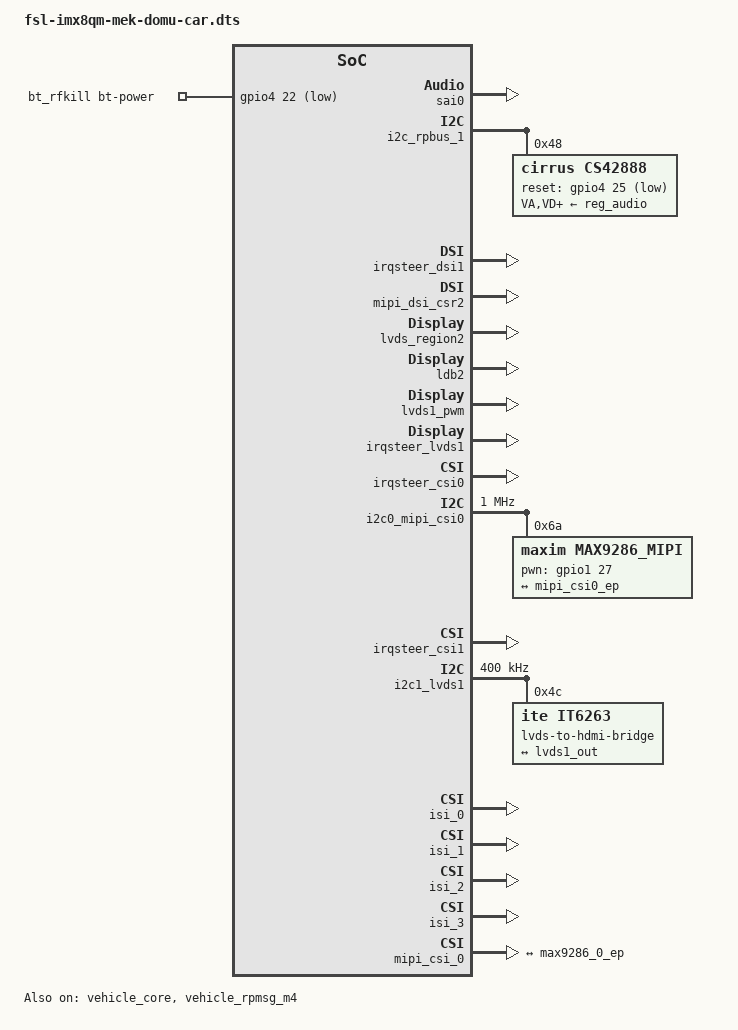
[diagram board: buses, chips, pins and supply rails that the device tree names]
/*
 * Copyright 2018-2019 NXP
 *
 * This program is free software; you can redistribute it and/or
 * modify it under the terms of the GNU General Public License
 * as published by the Free Software Foundation; either version 2
 * of the License, or (at your option) any later version.
 *
 * This program is distributed in the hope that it will be useful,
 * but WITHOUT ANY WARRANTY; without even the implied warranty of
 * MERCHANTABILITY or FITNESS FOR A PARTICULAR PURPOSE.  See the
 * GNU General Public License for more details.
 */

#include "fsl-imx8qm-mek-domu.dts"

/* Android Auto use bootargs */
/delete-node/ &{/reserved-memory/linux,cma};

/ {
	/*
	trusty {
		compatible = "android,trusty-smc-v1";
		ranges;
		#address-cells = <2>;
		#size-cells = <2>;
		trusty-virtio {
			compatible = "android,trusty-virtio-v1";
		};
	};
	trusty_ipi: interrupt-controller@0 {
		compatible = "android,CustomIPI";
		interrupt-controller;
		#interrupt-cells = <1>;
	};
	*/

	bt_rfkill {
		compatible = "fsl,mxc_bt_rfkill";
		bt-power-gpios = <&gpio4 22 GPIO_ACTIVE_LOW>;
		status ="okay";
	};

	sound-xtor {
		compatible = "fsl,imx-audio-xtor";
		model = "xtor-audio";
		cpu-dai = <&sai0>;
		status = "okay";
	};
};

/* Android auto use RPMSG to handle I2C */
/delete-node/ &xen_i2c1;
/delete-node/ &i2c1_lvds1;
/delete-node/ &camera;
/delete-node/ &dpu2_intsteer;
/delete-node/ &prg10;
/delete-node/ &prg11;
/delete-node/ &prg12;
/delete-node/ &prg13;
/delete-node/ &prg14;
/delete-node/ &prg15;
/delete-node/ &prg16;
/delete-node/ &prg17;
/delete-node/ &prg18;
/delete-node/ &dpr3_channel1;
/delete-node/ &dpr3_channel2;
/delete-node/ &dpr3_channel3;
/delete-node/ &dpr4_channel1;
/delete-node/ &dpr4_channel2;
/delete-node/ &dpr4_channel3;
/delete-node/ &dpu2;
/delete-node/ &pixel_combiner2;

/delete-node/ &lvds_region2;
/delete-node/ &ldb2_phy;
/delete-node/ &ldb2;
/delete-node/ &lvds1_pwm;
/delete-node/ &irqsteer_lvds1;

/delete-node/ &irqsteer_csi0;
/delete-node/ &i2c0_mipi_csi0;
/delete-node/ &gpio0_mipi_csi0;

&iomuxc {
	imx8qm-mek {
		pinctrl_mipi_csi0_en_rst: mipi_csi0_en_rst {
			fsl,pins = <
				SC_P_MIPI_CSI0_GPIO0_00_LSIO_GPIO1_IO27		0x00000021
				SC_P_MIPI_CSI0_GPIO0_01_LSIO_GPIO1_IO28		0x00000021
			>;
		};

		pinctrl_sai0: sai0grp {
			fsl,pins = <
				SC_P_SPI0_CS1_AUD_SAI0_TXC		0x0600004c
				SC_P_SPI2_CS1_AUD_SAI0_TXFS		0x0600004c
				SC_P_SAI1_RXFS_AUD_SAI0_RXD		0x0600004c
				SC_P_SAI1_RXC_AUD_SAI0_TXD		0x0600006c
			>;
		};
	};
};

&sai0 {
	assigned-clocks = <&clk IMX8QM_AUD_PLL0_DIV>,
			<&clk IMX8QM_AUD_ACM_AUD_PLL_CLK0_DIV>,
			<&clk IMX8QM_AUD_ACM_AUD_REC_CLK0_DIV>,
			<&clk IMX8QM_AUD_SAI_0_MCLK>;
	assigned-clock-rates = <786432000>, <49152000>, <12288000>, <49152000>;
	pinctrl-names = "default";
	pinctrl-0 = <&pinctrl_sai0>;
	status = "okay";
};

&i2c_rpbus_1 {
	#address-cells = <1>;
	#size-cells = <0>;
	status = "okay";

	cs42888: cs42888@48 {
		compatible = "cirrus,cs42888";
		reg = <0x48>;
		clocks = <&clk IMX8QM_AUD_MCLKOUT0>;
		clock-names = "mclk";
		VA-supply = <&reg_audio>;
		VD-supply = <&reg_audio>;
		VLS-supply = <&reg_audio>;
		VLC-supply = <&reg_audio>;
		reset-gpio = <&gpio4 25 1>;
		power-domains = <&pd_mclk_out0>;
		assigned-clocks = <&clk IMX8QM_AUD_PLL0_DIV>,
				<&clk IMX8QM_AUD_ACM_AUD_PLL_CLK0_DIV>,
				<&clk IMX8QM_AUD_ACM_AUD_REC_CLK0_DIV>,
				<&clk IMX8QM_AUD_MCLKOUT0>;
		assigned-clock-rates = <786432000>, <49152000>, <12288000>, <12288000>;
		fsl,txs-rxm;
		status = "okay";
	};
};

&vehicle_core {
	status = "okay";
};

&vehicle_rpmsg_m4 {
	#address-cells = <2>;
	#size-cells = <2>;
	status = "okay";
	ranges;

	clk_post: clk1 {
		compatible = "fsl,imx8qm-post-clk";
		#clock-cells = <1>;
	};

	dpu2_intsteer: dpu_intsteer@57000000 {
		compatible = "fsl,imx8qm-dpu-intsteer", "syscon";
		reg = <0x0 0x57000000 0x0 0x10000>;
	};

	pixel_combiner2: pixel-combiner@57020000 {
		compatible = "fsl,imx8qm-pixel-combiner";
		reg = <0x0 0x57020000 0x0 0x10000>;
		power-domains = <&pd_dc1>;
		status = "okay";
	};

	prg10: prg@57040000 {
		compatible = "fsl,imx8qm-prg";
		reg = <0x0 0x57040000 0x0 0x10000>;
		clocks = <&clk_post IMX8QM_DC1_PRG0_APB_CLK>,
			 <&clk_post IMX8QM_DC1_PRG0_RTRAM_CLK>;
		clock-names = "apb", "rtram";
		power-domains = <&pd_dc1>;
		status = "okay";
	};

	prg11: prg@57050000 {
		compatible = "fsl,imx8qm-prg";
		reg = <0x0 0x57050000 0x0 0x10000>;
		clocks = <&clk_post IMX8QM_DC1_PRG1_APB_CLK>,
			 <&clk_post IMX8QM_DC1_PRG1_RTRAM_CLK>;
		clock-names = "apb", "rtram";
		power-domains = <&pd_dc1>;
		status = "okay";
	};

	prg12: prg@57060000 {
		compatible = "fsl,imx8qm-prg";
		reg = <0x0 0x57060000 0x0 0x10000>;
		clocks = <&clk_post IMX8QM_DC1_PRG2_APB_CLK>,
			 <&clk_post IMX8QM_DC1_PRG2_RTRAM_CLK>;
		clock-names = "apb", "rtram";
		power-domains = <&pd_dc1>;
		status = "okay";
	};

	prg13: prg@57070000 {
		compatible = "fsl,imx8qm-prg";
		reg = <0x0 0x57070000 0x0 0x10000>;
		clocks = <&clk_post IMX8QM_DC1_PRG3_APB_CLK>,
			 <&clk_post IMX8QM_DC1_PRG3_RTRAM_CLK>;
		clock-names = "apb", "rtram";
		power-domains = <&pd_dc1>;
		status = "okay";
	};

	prg14: prg@57080000 {
		compatible = "fsl,imx8qm-prg";
		reg = <0x0 0x57080000 0x0 0x10000>;
		clocks = <&clk_post IMX8QM_DC1_PRG4_APB_CLK>,
			 <&clk_post IMX8QM_DC1_PRG4_RTRAM_CLK>;
		clock-names = "apb", "rtram";
		power-domains = <&pd_dc1>;
		status = "okay";
	};

	prg15: prg@57090000 {
		compatible = "fsl,imx8qm-prg";
		reg = <0x0 0x57090000 0x0 0x10000>;
		clocks = <&clk_post IMX8QM_DC1_PRG5_APB_CLK>,
			 <&clk_post IMX8QM_DC1_PRG5_RTRAM_CLK>;
		clock-names = "apb", "rtram";
		power-domains = <&pd_dc1>;
		status = "okay";
	};

	prg16: prg@570a0000 {
		compatible = "fsl,imx8qm-prg";
		reg = <0x0 0x570a0000 0x0 0x10000>;
		clocks = <&clk_post IMX8QM_DC1_PRG6_APB_CLK>,
			 <&clk_post IMX8QM_DC1_PRG6_RTRAM_CLK>;
		clock-names = "apb", "rtram";
		power-domains = <&pd_dc1>;
		status = "okay";
	};


	prg17: prg@570b0000 {
		compatible = "fsl,imx8qm-prg";
		reg = <0x0 0x570b0000 0x0 0x10000>;
		clocks = <&clk_post IMX8QM_DC1_PRG7_APB_CLK>,
			 <&clk_post IMX8QM_DC1_PRG7_RTRAM_CLK>;
		clock-names = "apb", "rtram";
		power-domains = <&pd_dc1>;
		status = "okay";
	};

	prg18: prg@570c0000 {
		compatible = "fsl,imx8qm-prg";
		reg = <0x0 0x570c0000 0x0 0x10000>;
		clocks = <&clk_post IMX8QM_DC1_PRG8_APB_CLK>,
			 <&clk_post IMX8QM_DC1_PRG8_RTRAM_CLK>;
		clock-names = "apb", "rtram";
		power-domains = <&pd_dc1>;
		status = "okay";
	};

	dpr3_channel1: dpr-channel@570d0000 {
		compatible = "fsl,imx8qm-dpr-channel";
		reg = <0x0 0x570d0000 0x0 0x10000>;
		fsl,sc-resource = <SC_R_DC_1_BLIT0>;
		fsl,prgs = <&prg10>;
		clocks = <&clk_post IMX8QM_DC1_DPR0_APB_CLK>,
			 <&clk_post IMX8QM_DC1_DPR0_B_CLK>,
			 <&clk_post IMX8QM_DC1_RTRAM0_CLK>;
		clock-names = "apb", "b", "rtram";
		power-domains = <&pd_dc1>;
		status = "okay";
	};

	dpr3_channel2: dpr-channel@570e0000 {
		compatible = "fsl,imx8qm-dpr-channel";
		reg = <0x0 0x570e0000 0x0 0x10000>;
		fsl,sc-resource = <SC_R_DC_1_BLIT1>;
		fsl,prgs = <&prg11>, <&prg10>;
		clocks = <&clk_post IMX8QM_DC1_DPR0_APB_CLK>,
			 <&clk_post IMX8QM_DC1_DPR0_B_CLK>,
			 <&clk_post IMX8QM_DC1_RTRAM0_CLK>;
		clock-names = "apb", "b", "rtram";
		power-domains = <&pd_dc1>;
		status = "okay";
	};

	dpr3_channel3: dpr-channel@570f0000 {
		compatible = "fsl,imx8qm-dpr-channel";
		reg = <0x0 0x570f0000 0x0 0x10000>;
		fsl,sc-resource = <SC_R_DC_1_FRAC0>;
		fsl,prgs = <&prg12>;
		clocks = <&clk_post IMX8QM_DC1_DPR0_APB_CLK>,
			 <&clk_post IMX8QM_DC1_DPR0_B_CLK>,
			 <&clk_post IMX8QM_DC1_RTRAM0_CLK>;
		clock-names = "apb", "b", "rtram";
		power-domains = <&pd_dc1>;
		status = "okay";
	};

	dpr4_channel1: dpr-channel@57100000 {
		compatible = "fsl,imx8qm-dpr-channel";
		reg = <0x0 0x57100000 0x0 0x10000>;
		fsl,sc-resource = <SC_R_DC_1_VIDEO0>;
		fsl,prgs = <&prg13>, <&prg14>;
		clocks = <&clk_post IMX8QM_DC1_DPR1_APB_CLK>,
			 <&clk_post IMX8QM_DC1_DPR1_B_CLK>,
			 <&clk_post IMX8QM_DC1_RTRAM1_CLK>;
		clock-names = "apb", "b", "rtram";
		power-domains = <&pd_dc1>;
		status = "okay";
	};

	dpr4_channel2: dpr-channel@57110000 {
		compatible = "fsl,imx8qm-dpr-channel";
		reg = <0x0 0x57110000 0x0 0x10000>;
		fsl,sc-resource = <SC_R_DC_1_VIDEO1>;
		fsl,prgs = <&prg15>, <&prg16>;
		clocks = <&clk_post IMX8QM_DC1_DPR1_APB_CLK>,
			 <&clk_post IMX8QM_DC1_DPR1_B_CLK>,
			 <&clk_post IMX8QM_DC1_RTRAM1_CLK>;
		clock-names = "apb", "b", "rtram";
		power-domains = <&pd_dc1>;
		status = "okay";
	};

	dpr4_channel3: dpr-channel@56712000 {
		compatible = "fsl,imx8qm-dpr-channel";
		reg = <0x0 0x57120000 0x0 0x10000>;
		fsl,sc-resource = <SC_R_DC_1_WARP>;
		fsl,prgs = <&prg17>, <&prg18>;
		clocks = <&clk_post IMX8QM_DC1_DPR1_APB_CLK>,
			 <&clk_post IMX8QM_DC1_DPR1_B_CLK>,
			 <&clk_post IMX8QM_DC1_RTRAM1_CLK>;
		clock-names = "apb", "b", "rtram";
		power-domains = <&pd_dc1>;
		status = "okay";
	};

	dpu2: dpu@57180000 {
		#address-cells = <1>;
		#size-cells = <0>;
		compatible = "fsl,imx8qm-dpu";
		reg = <0x0 0x57180000 0x0 0x40000>;
		intsteer = <&dpu2_intsteer>;
		interrupts = <GIC_SPI 152 IRQ_TYPE_LEVEL_HIGH>,
			     <GIC_SPI 153 IRQ_TYPE_LEVEL_HIGH>,
			     <GIC_SPI 154 IRQ_TYPE_LEVEL_HIGH>,
			     <GIC_SPI 155 IRQ_TYPE_LEVEL_HIGH>,
			     <GIC_SPI 156 IRQ_TYPE_LEVEL_HIGH>,
			     <GIC_SPI 157 IRQ_TYPE_LEVEL_HIGH>,
			     <GIC_SPI 158 IRQ_TYPE_LEVEL_HIGH>,
			     <GIC_SPI 159 IRQ_TYPE_LEVEL_HIGH>,
			     <GIC_SPI 162 IRQ_TYPE_LEVEL_HIGH>,
			     <GIC_SPI 163 IRQ_TYPE_LEVEL_HIGH>;
		interrupt-names = "irq_common",
				  "irq_stream0a",
				  "irq_stream0b",	/* to M4? */
				  "irq_stream1a",
				  "irq_stream1b",	/* to M4? */
				  "irq_reserved0",
				  "irq_reserved1",
				  "irq_blit",
				  "irq_dpr0",
				  "irq_dpr1";
		clocks = <&clk_post IMX8QM_DC1_PLL0_CLK>,
			 <&clk_post IMX8QM_DC1_PLL1_CLK>,
			 <&clk_post IMX8QM_DC1_BYPASS_0_DIV>,
			 <&clk_post IMX8QM_DC1_DISP0_SEL>,
			 <&clk_post IMX8QM_DC1_DISP1_SEL>,
			 <&clk_post IMX8QM_DC1_DISP0_CLK>,
			 <&clk_post IMX8QM_DC1_DISP1_CLK>;
		clock-names = "pll0", "pll1", "bypass0",
			      "disp0_sel", "disp1_sel", "disp0", "disp1";
		power-domains = <&pd_dc1_pll1>;
		fsl,dpr-channels = <&dpr3_channel1>, <&dpr3_channel2>,
				   <&dpr3_channel3>, <&dpr4_channel1>,
				   <&dpr4_channel2>, <&dpr4_channel3>;
		fsl,pixel-combiner = <&pixel_combiner2>;
		status = "okay";

		dpu2_disp0: port@0 {
			reg = <0>;

			dpu2_disp0_mipi_dsi: mipi-dsi-endpoint {
				/delete-property/ remote-endpoint;
			};
		};

		dpu2_disp1: port@1 {
			reg = <1>;

			dpu2_disp1_lvds0: lvds0-endpoint {
				remote-endpoint = <&ldb2_lvds0>;
			};

			dpu2_disp1_lvds1: lvds1-endpoint {
				remote-endpoint = <&ldb2_lvds1>;
			};
		};
	};

	irqsteer_dsi1: irqsteer@57220000 {
		compatible = "nxp,imx-irqsteer";
		reg = <0x0 0x57220000 0x0 0x1000>;
		interrupts = <GIC_SPI 60 IRQ_TYPE_LEVEL_HIGH>;
		interrupt-controller;
		interrupt-parent = <&gic>;
		#interrupt-cells = <2>;
		clocks = <&clk IMX8QM_MIPI1_LIS_IPG_CLK>;
		clock-names = "ipg";
		power-domains = <&pd_mipi1>;
	};

	mipi_dsi_csr2: csr@57221000 {
		compatible = "fsl,imx8qm-mipi-dsi-csr", "syscon";
		reg = <0x0 0x57221000 0x0 0x1000>;
	};

	mipi_dsi_phy2: mipi_phy@57228300 {
		#address-cells = <1>;
		#size-cells = <0>;
		compatible = "mixel,imx8qm-mipi-dsi-phy";
		reg = <0x0 0x57228300 0x0 0x100>;
		power-domains = <&pd_mipi1>;
		#phy-cells = <0>;
		status = "disabled";
	};

	lvds_region2: lvds_region@57240000 {
		compatible = "fsl,imx8qm-lvds-region", "syscon";
		reg = <0x0 0x57240000 0x0 0x10000>;
	};

	ldb2_phy: ldb_phy@57241000 {
		#address-cells = <1>;
		#size-cells = <0>;
		compatible = "mixel,lvds-phy";
		reg = <0x0 0x57241000 0x0 0x100>;
		clocks = <&clk_post IMX8QM_LVDS1_PHY_CLK>;
		clock-names = "phy";
		power-domains = <&pd_lvds1>;
		status = "okay";

		ldb2_phy1: port@0 {
			reg = <0>;
			#phy-cells = <0>;
		};

		ldb2_phy2: port@1 {
			reg = <1>;
			#phy-cells = <0>;
		};
	};

	ldb2: ldb@572410e0 {
		#address-cells = <1>;
		#size-cells = <0>;
		compatible = "fsl,imx8qm-ldb";
		clocks = <&clk_post IMX8QM_LVDS1_PIXEL_CLK>,
			 <&clk_post IMX8QM_LVDS1_BYPASS_CLK>;
		clock-names = "pixel", "bypass";
		power-domains = <&pd_lvds1>;
		gpr = <&lvds_region2>;
		status = "okay";

		lvds-channel@0 {
			#address-cells = <1>;
			#size-cells = <0>;
			reg = <0>;
			phys = <&ldb2_phy1>;
			phy-names = "ldb_phy";
			fsl,data-mapping = "jeida";
			fsl,data-width = <24>;
			status = "okay";

			port@0 {
				reg = <0>;

				ldb2_lvds0: endpoint {
					remote-endpoint = <&dpu2_disp1_lvds0>;
				};
			};

			port@1 {
				reg = <1>;

				lvds1_out: endpoint {
					remote-endpoint = <&it6263_1_in>;
				};
			};
		};

		lvds-channel@1 {
			#address-cells = <1>;
			#size-cells = <0>;
			reg = <1>;
			phys = <&ldb2_phy2>;
			phy-names = "ldb_phy";
			status = "disabled";

			port@0 {
				reg = <0>;

				ldb2_lvds1: endpoint {
					remote-endpoint = <&dpu2_disp1_lvds1>;
				};
			};
		};
	};

	lvds1_pwm: pwm@57244000 {
		compatible = "fsl,imx8qm-pwm", "fsl,imx27-pwm";
		reg = <0x0 0x57244000 0 0x1000>;
		clocks = <&clk_post IMX8QM_LVDS1_PWM0_IPG_CLK>,
			 <&clk_post IMX8QM_LVDS1_PWM0_CLK>;
		clock-names = "ipg", "per";
		assigned-clocks = <&clk_post IMX8QM_LVDS1_PWM0_CLK>;
		assigned-clock-rates = <24000000>;
		#pwm-cells = <2>;
		power-domains = <&pd_lvds1_pwm>;
		pinctrl-names = "default";
		pinctrl-0 = <&pinctrl_lvds1_pwm0>;
		status = "okay";
	};

	irqsteer_lvds1: irqsteer@572400000 {
		compatible = "nxp,imx-irqsteer";
		reg = <0x0 0x57240000 0x0 0x1000>;
		interrupts = <GIC_SPI 58 IRQ_TYPE_LEVEL_HIGH>;
		interrupt-controller;
		interrupt-parent = <&gic>;
		#interrupt-cells = <2>;
		clocks = <&clk_post IMX8QM_LVDS1_LIS_IPG_CLK>;
		clock-names = "ipg";
		power-domains = <&pd_lvds1>;
	};

	irqsteer_csi0: irqsteer@58220000 {
		compatible = "nxp,imx-irqsteer";
		reg = <0x0 0x58220000 0x0 0x1000>;
		interrupts = <GIC_SPI 320 IRQ_TYPE_LEVEL_HIGH>;
		interrupt-controller;
		interrupt-parent = <&gic>;
		#interrupt-cells = <2>;
		clocks = <&clk IMX8QM_CLK_DUMMY>;
		clock-names = "ipg";
		power-domains = <&pd_csi0>;
	};

	i2c0_mipi_csi0: i2c@58226000 {
		#address-cells = <1>;
		#size-cells = <0>;
		compatible = "fsl,imx8qm-lpi2c";
		reg = <0x0 0x58226000 0x0 0x1000>;
		interrupts = <8 IRQ_TYPE_LEVEL_HIGH>;
		interrupt-parent = <&irqsteer_csi0>;
		clocks = <&clk_post IMX8QM_CSI0_I2C0_CLK>,
			 <&clk_post IMX8QM_CSI0_I2C0_IPG_CLK>;
		clock-names = "per", "ipg";
		assigned-clocks = <&clk_post IMX8QM_CSI0_I2C0_CLK>;
		assigned-clock-rates = <24000000>;
		power-domains = <&pd_csi0_i2c0>;
		pinctrl-names = "default";
		status = "okay";
		clock-frequency = <1000000>;
		/*pinctrl-0 = <&pinctrl_mipi_csi0_en>;*/
		max9286_mipi@6A	 {
			compatible = "maxim,max9286_mipi";
			reg = <0x6A>;
			clocks = <&clk IMX8QM_CLK_DUMMY>;
			clock-names = "capture_mclk";
			mclk = <27000000>;
			mclk_source = <0>;
			pwn-gpios = <&gpio1 27 GPIO_ACTIVE_HIGH>;
			virtual-channel;
			port {
				max9286_0_ep: endpoint {
				remote-endpoint = <&mipi_csi0_ep>;
				data-lanes = <1 2 3 4>;
				};
			};
		};
	};

	gpio0_mipi_csi0: gpio@58222000 {
		compatible = "fsl,imx8qm-gpio", "fsl,imx35-gpio";
		reg = <0x0 0x58222000 0x0 0x1000>;
		interrupts = <0 IRQ_TYPE_LEVEL_HIGH>;
		interrupt-parent = <&irqsteer_csi0>;
		gpio-controller;
		#gpio-cells = <2>;
		interrupt-controller;
		#interrupt-cells = <2>;
		power-domains = <&pd_csi0>;
		status = "disabled";
	};

	irqsteer_csi1: irqsteer@582400000 {
		compatible = "nxp,imx-irqsteer";
		reg = <0x0 0x58240000 0x0 0x1000>;
		interrupts = <GIC_SPI 321 IRQ_TYPE_LEVEL_HIGH>;
		interrupt-controller;
		interrupt-parent = <&gic>;
		#interrupt-cells = <2>;
		clocks = <&clk IMX8QM_CLK_DUMMY>;
		clock-names = "ipg";
		power-domains = <&pd_csi1>;
	};

	gpio0_mipi_csi1: gpio@58242000 {
		compatible = "fsl,imx8qm-gpio", "fsl,imx35-gpio";
		reg = <0x0 0x58242000 0x0 0x1000>;
		interrupts = <0 IRQ_TYPE_LEVEL_HIGH>;
		interrupt-parent = <&irqsteer_csi1>;
		gpio-controller;
		#gpio-cells = <2>;
		interrupt-controller;
		#interrupt-cells = <2>;
		power-domains = <&pd_csi1>;
		status = "disabled";
	};

	i2c1_lvds1: i2c@57247000 {
		#address-cells = <1>;
		#size-cells = <0>;
		compatible = "fsl,imx8qm-lpi2c";
		reg = <0x0 0x57247000 0x0 0x1000>;
		interrupts = <9 IRQ_TYPE_LEVEL_HIGH>;
		interrupt-parent = <&irqsteer_lvds1>;
		clocks = <&clk_post IMX8QM_LVDS1_I2C0_CLK>,
			 <&clk_post IMX8QM_LVDS1_I2C0_IPG_CLK>;
		clock-names = "per", "ipg";
		assigned-clocks = <&clk_post IMX8QM_LVDS1_I2C0_CLK>;
		assigned-clock-rates = <24000000>;
		power-domains = <&pd_lvds1_i2c0>;
		pinctrl-names = "default";
		pinctrl-0 = <&pinctrl_lvds1_lpi2c1>;
		clock-frequency = <400000>;
		status = "okay";
		lvds-to-hdmi-bridge@4c {
			compatible = "ite,it6263";
			reg = <0x4c>;
			port {
				it6263_1_in: endpoint {
					clock-lanes = <3>;
					data-lanes = <0 1 2 4>;
					remote-endpoint = <&lvds1_out>;
				};
			};
		};
	};

	camera: camera {
		compatible = "fsl,mxc-md";
		#address-cells = <2>;
		#size-cells = <2>;
		ranges;

		isi_0: isi@58100000 {
			compatible = "fsl,imx8-isi";
			reg = <0x0 0x58100000 0x0 0x10000>;
			interrupts = <0 297 0>;
			interface = <2 0 2>;  /* <Input MIPI_VCx Output>
						Input:  0-DC0, 1-DC1, 2-MIPI CSI0, 3-MIPI CSI1, 4-HDMI, 5-MEM
						VCx:    0-VC0, 1-VC1, 2-VC2, 3-VC3, MIPI CSI only
						Output: 0-DC0, 1-DC1, 2-MEM */
			clocks = <&clk IMX8QM_IMG_PDMA_0_CLK>;
			clock-names = "per";
			assigned-clocks = <&clk IMX8QM_IMG_PDMA_0_CLK>;
			assigned-clock-rates = <600000000>;
			power-domains =<&pd_isi_ch0>;
			low_latency;
			status = "okay";
		};

		isi_1: isi@58110000 {
			compatible = "fsl,imx8-isi";
			reg = <0x0 0x58110000 0x0 0x10000>;
			interrupts = <0 298 0>;
			interface = <2 1 2>;
			clocks = <&clk IMX8QM_IMG_PDMA_1_CLK>;
			clock-names = "per";
			assigned-clocks = <&clk IMX8QM_IMG_PDMA_1_CLK>;
			assigned-clock-rates = <600000000>;
			power-domains =<&pd_isi_ch1>;
			low_latency;
			status = "okay";
		};

		isi_2: isi@58120000 {
			compatible = "fsl,imx8-isi";
			reg = <0x0 0x58120000 0x0 0x10000>;
			interrupts = <0 299 0>;
			interface = <2 2 2>;
			clocks = <&clk IMX8QM_IMG_PDMA_2_CLK>;
			clock-names = "per";
			assigned-clocks = <&clk IMX8QM_IMG_PDMA_2_CLK>;
			assigned-clock-rates = <600000000>;
			power-domains =<&pd_isi_ch2>;
			low_latency;
			status = "okay";
		};

		isi_3: isi@58130000 {
			compatible = "fsl,imx8-isi";
			reg = <0x0 0x58130000 0x0 0x10000>;
			interrupts = <0 300 0>;
			interface = <2 3 2>;
			clocks = <&clk IMX8QM_IMG_PDMA_3_CLK>;
			clock-names = "per";
			assigned-clocks = <&clk IMX8QM_IMG_PDMA_3_CLK>;
			assigned-clock-rates = <600000000>;
			power-domains =<&pd_isi_ch3>;
			low_latency;
			status = "okay";
		};

		mipi_csi_0: csi@58227000 {
			compatible = "fsl,mxc-mipi-csi2";
			reg = <0x0 0x58227000 0x0 0x1000>, /* CSI0 Controler base addr */
				<0x0 0x58221000 0x0 0x1000>; /* CSI0 Subsystem CSR base addr  */
			interrupts = <10 IRQ_TYPE_LEVEL_HIGH>;
			interrupt-parent = <&irqsteer_csi0>;
			clocks = <&clk IMX8QM_CLK_DUMMY>,
				 <&clk_post IMX8QM_CSI0_CORE_CLK>,
				 <&clk_post IMX8QM_CSI0_ESC_CLK>,
				 <&clk IMX8QM_IMG_PXL_LINK_CSI0_CLK>;
			clock-names = "clk_apb", "clk_core", "clk_esc", "clk_pxl";
			assigned-clocks = <&clk_post IMX8QM_CSI0_CORE_CLK>,
					  <&clk_post IMX8QM_CSI0_ESC_CLK>;
			assigned-clock-rates = <360000000>, <72000000>;
			power-domains = <&pd_csi0>;
			#address-cells = <1>;
			#size-cells = <0>;
			virtual-channel;
			status = "okay";

			/* Camera 0  MIPI CSI-2 (CSIS0) */
			port@0 {
				reg = <0>;
				mipi_csi0_ep: endpoint {
					remote-endpoint = <&max9286_0_ep>;
					data-lanes = <1 2 3 4>;
				};
			};
		};
	};
};
